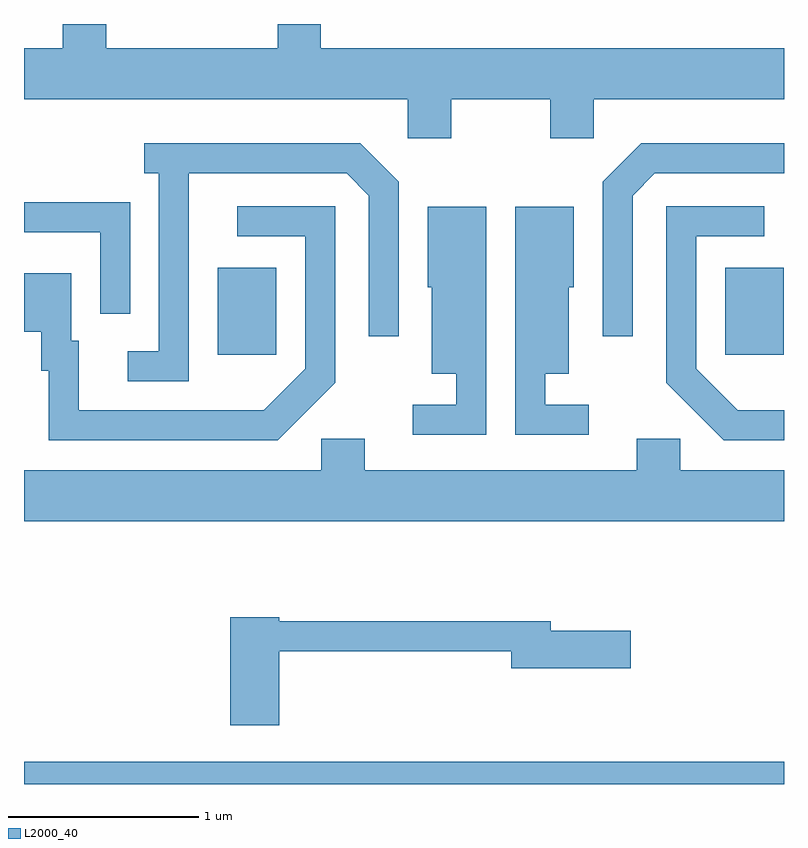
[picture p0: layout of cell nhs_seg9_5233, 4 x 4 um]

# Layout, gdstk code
import gdstk
lib = gdstk.Library(unit=1e-6, precision=1e-09)
def R(c, l, rs):  # rectangles x0, y0, x1, y1
    for r in rs: c.add(gdstk.rectangle(r[:2], r[2:], *l))
def P(c, l, *ps):  # polygons
    for p in ps: c.add(gdstk.Polygon(p, *l))
L2000_40 = (2000, 40)

nhs_seg9_5233 = lib.new_cell('nhs_seg9_5233')
R(nhs_seg9_5233, L2000_40, [(339.611,1990.432,343.611,1990.549), (340.631,1992.691,340.939,1993.149), (343.301,1992.691,343.609,1993.149)])
P(nhs_seg9_5233, L2000_40, [(341.859,1994.036),(342.381,1994.036),(342.381,1993.831),(342.609,1993.831),(342.609,1994.036),(343.611,1994.036),(343.611,1994.304),(341.174,1994.304),(341.174,1994.432),(340.946,1994.432),(340.946,1994.304),(340.044,1994.304),(340.044,1994.432),(339.816,1994.432),(339.816,1994.304),(339.611,1994.304),(339.611,1994.036),(341.631,1994.036),(341.631,1993.831),(341.859,1993.831)],
  [(342.814,1993.529),(342.932,1993.646),(343.611,1993.646),(343.611,1993.804),(342.859,1993.804),(342.656,1993.602),(342.656,1992.788),(342.814,1992.788)],
  [(340.479,1993.646),(341.309,1993.646),(341.426,1993.529),(341.426,1992.788),(341.584,1992.788),(341.584,1993.602),(341.382,1993.804),(340.243,1993.804),(340.243,1993.646),(340.321,1993.646),(340.321,1992.709),(340.158,1992.709),(340.158,1992.551),(340.479,1992.551)],
  [(340.169,1993.494),(339.611,1993.494),(339.611,1993.336),(340.011,1993.336),(340.011,1992.908),(340.169,1992.908)],
  [(343.611,1992.399),(343.367,1992.399),(343.149,1992.617),(343.149,1993.316),(343.508,1993.316),(343.508,1993.474),(342.991,1993.474),(342.991,1992.544),(343.294,1992.241),(343.611,1992.241)],
  [(341.249,1992.544),(341.249,1993.474),(340.733,1993.474),(340.733,1993.316),(341.091,1993.316),(341.091,1992.617),(340.874,1992.399),(339.899,1992.399),(339.899,1992.764),(339.859,1992.764),(339.859,1993.119),(339.611,1993.119),(339.611,1992.811),(339.701,1992.811),(339.701,1992.606),(339.741,1992.606),(339.741,1992.241),(340.947,1992.241)],
  [(342.583,1992.429),(342.354,1992.429),(342.354,1992.591),(342.479,1992.591),(342.479,1993.046),(342.504,1993.046),(342.504,1993.469),(342.196,1993.469),(342.196,1992.271),(342.583,1992.271)],
  [(342.044,1993.469),(341.736,1993.469),(341.736,1993.046),(341.756,1993.046),(341.756,1992.591),(341.886,1992.591),(341.886,1992.429),(341.658,1992.429),(341.658,1992.271),(342.044,1992.271)],
  [(343.611,1992.084),(343.064,1992.084),(343.064,1992.249),(342.836,1992.249),(342.836,1992.084),(341.404,1992.084),(341.404,1992.249),(341.176,1992.249),(341.176,1992.084),(339.611,1992.084),(339.611,1991.816),(343.611,1991.816)],
  [(340.954,1991.131),(342.176,1991.131),(342.176,1991.041),(342.804,1991.041),(342.804,1991.239),(342.384,1991.239),(342.384,1991.289),(340.954,1991.289),(340.954,1991.309),(340.696,1991.309),(340.696,1990.741),(340.954,1990.741)])

lib.write_gds('nhs_seg9_5233.gds')
